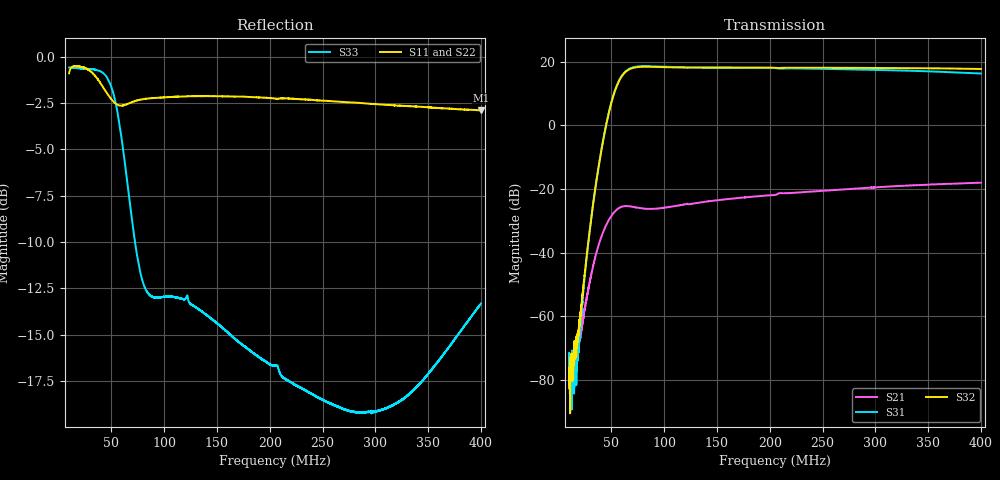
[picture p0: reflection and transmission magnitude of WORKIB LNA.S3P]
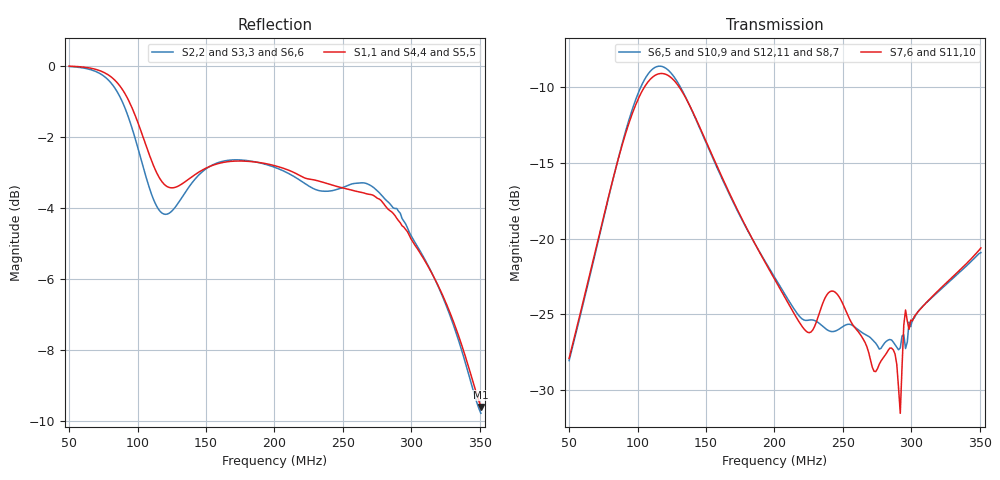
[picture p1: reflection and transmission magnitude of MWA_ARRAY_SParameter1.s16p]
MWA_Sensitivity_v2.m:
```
clear all;
close all;

%!============== VARIABLES ================!
%source pointing angles in degrees
phi0 = 0; %'phi' location of the source
theta0 = 0; %'theta' location of the source
gridpoint = 0; %gridpoint number from sweetpoints
dPhi = 5; %phi resolution (degrees per angular step)
dTheta = 5; %theta resolution (degrees per angular step)
eff_rad = 0.95; %radiation efficiency

%!========= END OF VARIABLES =============!

T0 = 290; % Kelvin, ambient temperature
c0 = 299792458; %Speed of Light in Vacuum, m/s
kB = 1.380649e-23; %J.K-1 (Boltzmann constant)
M = 16; %number of elements

%=== noise parameters provided from Daniel ===
load('Data\EDA_LNA_DISO_170705'); 

freq_noise = noise_par_DISO.freq; % MHz
Tmin = noise_par_DISO.Tmin;
Gamma_opt = noise_par_DISO.gamma_opt_comp;
N = noise_par_DISO.N;

clear noise_par_DISO

%===calculate differential S-parameters ===
Spara = sparameters('Data\WORKIB LNA.S3P');
Spara = newref(Spara,100);

S = Spara.Parameters;
freq_DUT = Spara.Frequencies/1e6;

Sdd11(:,1) = 0.5 * (S(1,1,:) - S(2,1,:) - S(1,2,:) + S(2,2,:));
Sds12(:,1) = 1.0 / sqrt(2) * (S(1,3,:) - S(2,3,:));
Ssd21(:,1) = 1.0 / sqrt(2) * (S(3,1,:) - S(3,2,:));
Sss22(:,1) = S(3,3,:);

clearvars Spara S 

% %---firstly, perform interpolation to match data points---
Sdd11 = spline(freq_DUT,Sdd11,freq_noise);
Sds12 = spline(freq_DUT,Sds12,freq_noise);
Ssd21 = spline(freq_DUT,Ssd21,freq_noise);
Sss22 = spline(freq_DUT,Sss22,freq_noise);

%---now calculate the travelling noise wave correlation parameters 
c11 = kB * T0 *( 4 * N .* abs(1 - Sdd11 .* Gamma_opt).^2 ./ ...
        (1 - abs(Gamma_opt).^2) - Tmin / T0 .* (1 - abs(Sdd11).^2 ));
    
c22 = kB * T0 * abs(Ssd21).^2 .* (Tmin / T0 + ...
        4 * N .* abs(Gamma_opt).^2 ./ (1 - abs(Gamma_opt).^2));
    
c12 = -4 * kB * T0 * N .* (conj(Ssd21) .* conj(Gamma_opt)) ./ ...
      (1 - abs(Gamma_opt).^2) + Sdd11 ./ Ssd21 .* c22;  

%=== extract multiport scattering parameters from simulated data ===
S_ant_data = sparameters('Data\MWA_ARRAY_SParameter1.s16p'); 
freq_ant = S_ant_data.Frequencies/1e6;
freq_num = size(freq_ant,1);
S_ant = S_ant_data.Parameters;

clear S_ant_data

%=== interpolate to match the number of simulation frequency points ===
c11 = spline(freq_noise,c11,freq_ant);
c22 = spline(freq_noise,c22,freq_ant);
c12 = spline(freq_noise,c12,freq_ant);
 
Sdd11 = spline(freq_noise,Sdd11,freq_ant);
Sds12 = spline(freq_noise,Sds12,freq_ant);
Ssd21 = spline(freq_noise,Ssd21,freq_ant);
Sss22 = spline(freq_noise,Sss22,freq_ant);

Gamma_opt = spline(freq_noise,Gamma_opt,freq_ant);
N = spline(freq_noise,N,freq_ant);
Tmin = spline(freq_noise,Tmin,freq_ant);

%=== Read beamformer coefficients ===
csv_data = readtable('Data\MWA_sweet_spot_gridpoints.csv','HeaderLines',6);

%create complex beamformer coefficients, w
delays = table2array(csv_data(gridpoint+1, 4:end));

clear csv_data

amps = 1;
phases = 2 * pi * (freq_ant * 1e6) * (-delays) * 435e-12;
w = amps * exp(1i * phases);

Geff = zeros(freq_num, M);
Xi = zeros(freq_num, M);
Gamma_s = zeros(freq_num, M);
Gamma_eff = zeros(freq_num, M);

%=== Loop through all LNAs ===
for m = 1:M
    
    w_m = w(:,m);
    
    %=== Form interpolated S_lna matrix ===
    S_lna = zeros(M, M, freq_num);
    
    for j = 1:M
        if(j ~= m)
            S_lna(j, j, :) = Sdd11(:);
        end
    end
    
    %create Gamma_s
    GT = zeros(M, 1, freq_num);
    IM = eye(M);
    for f = 1:freq_num
        GT(:, :, f) = inv(IM(:, :) - S_ant(:, :, f) ...
                                   * S_lna(:, :, f)) * S_ant(:, m, f);
    end
    Gamma_s_m = squeeze(GT(m,:,:));
    
    %create bm
    c1 = zeros(M, 1);
    c1(m) = 1;
    
    bm = zeros(freq_num, M);
    for f = 1:freq_num
       bm(f, :) = inv(IM(:, :) - S_ant(:, :, f) * ...
                                 Sdd11(f)) * S_ant(:, :, f) * c1(:, 1);
    end
    
    %create kappa
    kappa = zeros(freq_num, 1);
    for i = 1:M
       if(i ~= m)
           for f = 1:freq_num
                kappa(f) = kappa(f) + ...
                    (w_m(f) * bm(f, i)) / (w_m(f) * bm(f, m)); 
           end 
       end
    end
    
    %create zeta
    zeta = (1 + kappa) ./ (1 + Gamma_s_m .* Sdd11 .* kappa);
    
    %create Gamma_eff
    Gamma_eff_m = zeta .* Gamma_s_m;
    
    %create Xi
    Xi_m = (1 - abs(Gamma_eff_m) .^ 2) ./ (1 - abs(Gamma_s_m) .^ 2);
    
    %create Geff
    Geff_m = (1 - abs(Gamma_s_m) .^ 2) ./ ...
              abs(1 - Gamma_s_m .* Sdd11) .^ 2 .* ...
              abs(Ssd21 .* w_m) .^ 2 .* ...
              abs(1 + Gamma_s_m .* Sdd11 .* kappa) .^ 2;
    
    Gamma_s(:, m) = Gamma_s_m(:);
    Gamma_eff(:, m) = Gamma_eff_m(:);
    Xi(:, m) = Xi_m(:);
    Geff(:, m) = Geff_m(:);
    
end

%calculate Gamma_opt_arr
Gamma_opt_arr = sum(Gamma_opt .* Gamma_s, 2) / M;

%calculate effective temperature
Teff = zeros(freq_num, M);

for m = 1:M
    Teff(:, m) = Tmin .* Xi(:, m) + 4 * T0 * N .* Xi(:, m) .* ...
                 abs(Gamma_eff(:, m) - Gamma_opt_arr).^2 ./ ...
                 ((1 - abs(Gamma_opt_arr) .^ 2) .* ...
                  (1 - abs(Gamma_eff(:, m)) .^ 2));
end

%calculate receiver noise temperature and average gain
Tout = sum(Teff .* Geff, 2);
Gavg = sum(Xi .* Geff, 2);
Trx = Tout ./ Gavg;

%calculate homogeneous sky temperature
lambda = c0 ./ (freq_ant * 1e6);

% Get Directivity Data 
%Read directivity saved in separate .csv files
phi_num = 73; %number of phi points
theta_num = 19; %number of theta points

MWA_Directivity = zeros(phi_num, theta_num, freq_num);

D_PATH = 'Data\Directivity\';

freq_dir = 50; %MHz (starting point)
for b=1:size(MWA_Directivity, 3)
  MWA_Directivity(:,:,b) = csvread(strcat(D_PATH, 'Directivity_', ...
                           num2str(freq_dir, '%.2f'), '.csv'), 0, 0);
  freq_dir = freq_dir + 1.28; %1.28 MHz step 
end

theta_array = [0:dTheta:90]';
phi_array = [0:dPhi:360]';

%find the closest position to phi0 location of the source
phi_pointed = 0;
phi_diff1 = abs(phi0 - phi_pointed);
phi_pos = 1;
for i = 2:phi_num
    phi_diff2 = abs(phi0 - phi_array(i));
    if(phi_diff2 < phi_diff1)
        phi_pointed = phi_array(i);
        phi_diff1 = phi_diff2;
        phi_pos = i;
    else
        break
    end
end

%find the closest position to theta0 location of the source
theta_pointed = 0;
theta_diff1 = abs(theta0 - theta_pointed);
theta_pos = 1;
for i = 2:theta_num
    theta_diff2 = abs(theta0 - theta_array(i));
    if(theta_diff2 < theta_diff1)
        theta_pointed = theta_array(i);
        theta_diff1 = theta_diff2;
        theta_pos = i;
    else
        break
    end
end

fprintf('The closest position to (phi,theta) = (%.2f,%.2f) is (%.2f,%.2f)\n', ...
        phi0, theta0, phi_pointed, theta_pointed);
    
%convert from dB to Linear
D0 = 10 .^ (squeeze(MWA_Directivity(phi_pos, theta_pos, :)) / 10); 
Aeff = lambda .^ 2 / (4 * pi) .* D0;

%=== calculate antenna noise temperature due to homogeneous sky ===
Tsky = 60 * lambda .^ 2.55;

%=== calculate Tsys, assuming radiation efficiency is 95% ===
Tsys = eff_rad * Tsky + (1 - eff_rad) * T0 + Trx;

%=== calculate Sensitivity ===
Sensitivity = Aeff ./ Tsys;

%=== calculate SEFD ====
SEFD = 2 * kB ./ Sensitivity * 1e26;

%=== export data for x and y polarizations of SEFD for comparison
load('Data\X_pol.mat');
load('Data\Y_pol.mat');

SEFD_Xpol(SEFD_Xpol == 1) = NaN;
SEFD_Xpol(SEFD_Xpol < 1e3) = NaN;
SEFD_Xpol(SEFD_Xpol > 1e7) = NaN;

SEFD_Ypol(SEFD_Ypol == 1) = NaN;
SEFD_Ypol(SEFD_Ypol < 1e3) = NaN;
SEFD_Ypol(SEFD_Ypol > 1e7) = NaN;

SEFD_Xpol = SEFD_Xpol(:);
SEFD_Ypol = SEFD_Ypol(:);
Freq_Xpol = Freq_Xpol(:);
Freq_Ypol = Freq_Ypol(:);

semilogy(Freq_Xpol,SEFD_Xpol,'.',...
         Freq_Ypol,SEFD_Ypol,'.',...
         freq_ant,SEFD);
legend("SEFD x-polarization", "SEFD y-polarization", "SEFD Calculated 0.9m");
xlabel("Frequency, MHz");
ylabel("System Equivalent Flux Density, Jansky");
title(strcat('Simulated and Measured SEFD Comparison at \phi=',...
      num2str(phi_pointed),' ^{o}, \theta = ', ...
      num2str(theta_pointed),'^{o} Pointing'))
xlim([50 350]);
grid on
```
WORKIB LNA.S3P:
!Agilent Technologies,E5071C,MY46419080,A.11.31
!Date: Fri Sep 13 16:01:36 2019
!Data & Calibration Information:
!Freq	S11:SOLT3(ON)	S12:SOLT3(ON)	S13:SOLT3(ON)
!	S21:SOLT3(ON)	S22:SOLT3(ON)	S23:SOLT3(ON)
!	S31:SOLT3(ON)	S32:SOLT3(ON)	S33:SOLT3(ON)
!PortZ  Port1:50+j0  Port2:50+j0  Port3:50+j0
!Above PortZ is port z conversion or system Z0 setting when saving the data.
!When reading, reference impedance value at option line is always used.
# Hz S RI R 50
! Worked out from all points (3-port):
!   7801 points, 10 MHz to 400 MHz, reference 50 ohm
!   strongest paths, dB at 10 MHz, 107.5 MHz, 205 MHz, 302.5 MHz, 400 MHz:
!     S32: -76.1, 18.2, 18.1, 18.0, 17.7
!     S31: -73.8, 18.3, 18.0, 17.4, 16.2
!     S21: -77.9, -25.5, -21.9, -19.5, -18.0
!   lowest |S11| = -2.9 dB at 400 MHz (marker M1), VSWR 6.04, Z = 13.7 - j39.7 ohm
!   |S11| at or under -10 dB: nowhere
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1e7  -0.9008 -0.045  -3.98e-05 7.38e-05  -1.35e-05 -0.000112
     6.1e-05 0.000112  -0.9062 -0.0119  1.93e-05 6.29e-05
     -0.000138 -0.000151  -3.87e-05 0.000151  -0.7803 0.5151
5.46e7  0.5009 0.552  0.0318 0.0329  7.44e-05 0.0016
        0.0289 0.0364  0.5315 0.5269  -0.000145 -0.00176
        -2.504 -3.138  2.566 2.968  -0.6084 -0.4178
7.36e7  0.6407 0.4107  0.0416 -0.0312  0.002 -0.00269
        0.043 -0.0275  0.6563 0.3816  -0.00224 0.00268
        1.179 8.24  -1.548 -8.001  0.2971 0.0452
1.3965e8  0.7742 -0.1151  -0.0279 -0.0558  -0.00472 0.00225
          -0.0243 -0.0583  0.7655 -0.129  0.00456 -0.00238
          -0.0168 -8.066  0.67 8.009  -0.099 0.1758
4e8  -0.1305 -0.7038  -0.0214 0.1177  0.0104 -0.00172
     -0.0193 0.1239  -0.1386 -0.7072  -0.0116 0.00573
     1.455 6.328  -3.124 -6.98  0.2142 -0.0272
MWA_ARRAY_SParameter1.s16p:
! S-parameter export from FEKO
!  Filename:  MWA_ARRAY_SParameter1.s16p
!  Creation date: 2020-02-17 13:38:08
# Hz S MA R  1.00000E+02
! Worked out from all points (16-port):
!   236 points, 50 MHz to 350.8 MHz, reference 100 ohm
!   strongest paths, dB at 50 MHz, 125.5 MHz, 201 MHz, 276.6 MHz, 350.8 MHz:
!     S7,6: -27.9, -9.4, -22.8, -28.3, -20.6
!     S11,10: -27.9, -9.4, -22.8, -28.3, -20.6
!     S6,5: -28.0, -9.2, -22.7, -27.3, -20.9
!     S10,9: -28.0, -9.2, -22.7, -27.3, -20.9
!     S12,11: -28.0, -9.2, -22.7, -27.3, -20.9
!     S8,7: -28.0, -9.2, -22.7, -27.3, -20.9
!   lowest |S11| = -9.6 dB at 350.8 MHz (marker M1), VSWR 1.99, Z = 143 - j72 ohm
!   |S11| at or under -10 dB: nowhere
